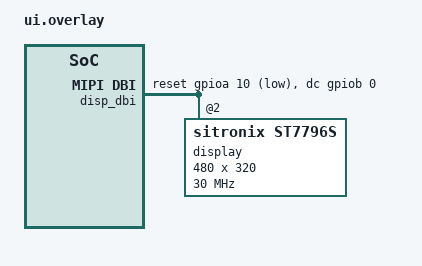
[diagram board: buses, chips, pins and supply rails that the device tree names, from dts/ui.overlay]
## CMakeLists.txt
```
# STS1000 "Meridian" application — SPDX-License-Identifier: Apache-2.0
#
# Build:  west build -b sts1000_meridian --sysbuild firmware/app
# See firmware/scripts/build.sh for the canonical invocation.

cmake_minimum_required(VERSION 3.20.0)

# ---------------------------------------------------------------------------
# Drop-in configuration fragments  (MUST precede find_package(Zephyr))
#
# The Zephyr glue is split into four ownership areas (platform, net, console,
# ui) worked on in parallel. So that adding an area never means editing a
# shared file, each area drops its own Kconfig fragment into `conf/` and its
# own devicetree overlay into `dts/`; both directories are globbed here and
# merged into EXTRA_CONF_FILE / EXTRA_DTC_OVERLAY_FILE.
#
# Ordering is the sorted filename, so a fragment can rely on being applied
# after an alphabetically earlier one. `prj.conf` is always applied first
# (Zephyr applies CONF_FILE before EXTRA_CONF_FILE), and a later fragment
# overrides an earlier one — that is the intended override direction.
#
# configuration_files.cmake reads both variables with `zephyr_get(... MERGE)`,
# which unions the local scope value set here with any CACHE/env/sysbuild
# value, so a `-DEXTRA_CONF_FILE=...` on the west command line still applies.
#
# CONFIGURE_DEPENDS makes CMake re-glob on every build, so a newly added
# fragment is picked up without a manual `cmake` re-run. Changing an already
# merged Kconfig default still needs a pristine build.
# ---------------------------------------------------------------------------
file(GLOB sts1000_conf_fragments CONFIGURE_DEPENDS
     ${CMAKE_CURRENT_SOURCE_DIR}/conf/*.conf)
if(sts1000_conf_fragments)
  list(SORT sts1000_conf_fragments)
  list(APPEND EXTRA_CONF_FILE ${sts1000_conf_fragments})
endif()

file(GLOB sts1000_dts_overlays CONFIGURE_DEPENDS
     ${CMAKE_CURRENT_SOURCE_DIR}/dts/*.overlay)
if(sts1000_dts_overlays)
  list(SORT sts1000_dts_overlays)
  list(APPEND EXTRA_DTC_OVERLAY_FILE ${sts1000_dts_overlays})
endif()

find_package(Zephyr REQUIRED HINTS $ENV{ZEPHYR_BASE})
project(sts1000_meridian LANGUAGES C)

# ---------------------------------------------------------------------------
# mbedTLS user-config header (NTS-KE)
#
# CONFIG_MBEDTLS_USER_CONFIG_FILE="sts_mbedtls_user.h" makes Zephyr's
# configs/config-mbedtls.h end with `#include "sts_mbedtls_user.h"` (that file,
# line 552). The header therefore has to be findable from every translation unit
# that pulls the mbedTLS configuration in — which is the whole mbedTLS module,
# not just this application, because the module is compiled with its own include
# paths and knows nothing about app/. Without this line the mbedTLS library
# fails to compile with "sts_mbedtls_user.h: No such file or directory"; with it,
# MBEDTLS_SSL_KEYING_MATERIAL_EXPORT reaches the library and the application
# identically, which is the only way the exporter can be both compiled into
# ssl_tls.c and visible to the `#if` in src/zephyr/net/sts_ntske.c.
#
# PLACEMENT: this must come AFTER find_package(Zephyr), not before it, and the
# note that used to say otherwise (in sts_mbedtls_user.h and conf/net.conf) was
# wrong — `zephyr_include_directories` is defined by cmake/modules/extensions.cmake
# and operates on the `zephyr_interface` target, and neither exists until
# find_package(Zephyr) runs kernel.cmake's add_subdirectory(${ZEPHYR_BASE}).
# Placed earlier the configure step dies with
#     CMake Error: Unknown CMake command "zephyr_include_directories".
# Placing it after is not a workaround: zephyr_include_directories() appends to
# an INTERFACE target's INTERFACE_INCLUDE_DIRECTORIES, and CMake resolves usage
# requirements at generate time, so every zephyr_library() — including the four
# the mbedTLS module defines — picks it up even though those targets were
# created during find_package(Zephyr).
#
# Scope note: this puts src/zephyr/net/ on the include path of every Zephyr
# library in the image, not only mbedTLS. That is safe because every header in
# that directory is `sts_`-prefixed, so none can shadow a Zephyr, mbedTLS or
# libc header. Keep it that way — an unprefixed header added there would be
# picked up by upstream code.
# ---------------------------------------------------------------------------
zephyr_include_directories(${CMAKE_CURRENT_SOURCE_DIR}/src/zephyr/net)

# ---------------------------------------------------------------------------
# Anti-rollback: the SIGNED security counter must equal the COMPILED-IN epoch
#
# Two symbols carry one number (app/conf/rollback.conf explains why Kconfig
# cannot express it as one):
#
#   CONFIG_MCUBOOT_EXTRA_IMGTOOL_ARGS  reaches imgtool and lands in the image's
#                                      protected TLV area, which is what
#                                      MCUboot compares.
#   CONFIG_STS1000_SECURITY_EPOCH      reaches the C code, which uses it to
#                                      refuse a staged downgrade and to step
#                                      the ATECC608B witness counter.
#
# Letting those drift is the interesting failure: the image would be gated on
# one number and the firmware would reason about another, and both halves would
# look fine in isolation. So this is a hard error, not a warning. It also
# catches the case the whole feature is silently absent — a fragment that got
# dropped, or an -DEXTRA_CONF_FILE that replaced rather than extended the set —
# because then the imgtool argument is empty and no counter is signed at all.
#
# Only meaningful for an image that MCUboot chain-loads and that is actually
# signed; a raw or unsigned build has no TLV area to put a counter in.
# ---------------------------------------------------------------------------
if(CONFIG_BOOTLOADER_MCUBOOT AND NOT CONFIG_MCUBOOT_GENERATE_UNSIGNED_IMAGE)
  if(NOT CONFIG_MCUBOOT_EXTRA_IMGTOOL_ARGS MATCHES "--security-counter[ \t]+([0-9]+|0[xX][0-9a-fA-F]+)")
    message(FATAL_ERROR
      "anti-rollback: CONFIG_MCUBOOT_EXTRA_IMGTOOL_ARGS carries no "
      "'--security-counter <n>', so this image would be signed without an "
      "IMAGE_TLV_SEC_CNT and could never be installed on a unit that has "
      "already confirmed a counter-bearing image. Restore app/conf/rollback.conf.\n"
      "  CONFIG_MCUBOOT_EXTRA_IMGTOOL_ARGS = '${CONFIG_MCUBOOT_EXTRA_IMGTOOL_ARGS}'")
  endif()
  set(sts1000_signed_epoch "${CMAKE_MATCH_1}")

  if(NOT DEFINED CONFIG_STS1000_SECURITY_EPOCH)
    message(FATAL_ERROR
      "anti-rollback: CONFIG_STS1000_SECURITY_EPOCH is not defined, but the "
      "image is being signed with --security-counter ${sts1000_signed_epoch}. "
      "The firmware would have no idea what epoch it is running.")
  endif()

  # EQUAL, not STREQUAL: 0x2 and 2 are the same epoch, and imgtool accepts both.
  if(NOT sts1000_signed_epoch EQUAL CONFIG_STS1000_SECURITY_EPOCH)
    message(FATAL_ERROR
      "anti-rollback: the epoch signed into the image and the epoch compiled "
      "into it disagree. Both live in app/conf/rollback.conf and must be the "
      "same number.\n"
      "  signed   (--security-counter)      = ${sts1000_signed_epoch}\n"
      "  compiled (CONFIG_STS1000_SECURITY_EPOCH) = ${CONFIG_STS1000_SECURITY_EPOCH}")
  endif()

  message(STATUS
    "sts1000 anti-rollback: security epoch ${CONFIG_STS1000_SECURITY_EPOCH} "
    "(signed into IMAGE_TLV_SEC_CNT and compiled in)")
endif()

# ---------------------------------------------------------------------------
# Sources
#
# ARCHITECTURE.md §4 splits the application in two:
#   src/core/    platform-neutral C11, host-testable, no Zephyr headers
#   src/zephyr/  Zephyr glue (threads, ISRs, driver + port implementations)
#
# core/ is one recursive glob. During the wave-2 build-out it was listed per
# module so a half-written module could not break an unrelated build; every
# ARCHITECTURE.md §5 module now compiles for the target, so that exception is
# gone and adding a module is a no-edit operation.
# ---------------------------------------------------------------------------
file(GLOB_RECURSE sts1000_core_sources CONFIGURE_DEPENDS
     ${CMAKE_CURRENT_SOURCE_DIR}/src/core/*.c)

# --- Zephyr glue, gated per ownership area ---------------------------------
#
# The glue is four ownership areas developed in parallel (ARCHITECTURE.md §2):
# platform, net, console, ui. Each area's sources are globbed from its own
# subdirectory, so adding a file to an area is still a no-edit operation — the
# STEP-0 goal. The three non-platform areas are compiled only when their
# CONFIG_STS1000_<AREA> switch is on (all default y).
#
# Gating the compile — not just the entry-point call in main.c — is what makes
# the switches actually compose the image: CONFIG_STS1000_NET=n produces a
# timing-only bring-up image with no network code linked (the motivation in
# app/Kconfig), and it lets one area be excluded while it is mid-refactor
# without editing another area's files. main.c's __weak fallbacks
# (src/zephyr/platform/sts_area_weak.c) stand in for a disabled area's entry
# point, so the image always links.
#
#   platform  src/zephyr/*.c (sts_app.c) + src/zephyr/platform/  — always built
#   net       src/zephyr/net/                                    — CONFIG_STS1000_NET
#   console   src/zephyr/console/ + src/zephyr/storage/          — CONFIG_STS1000_CONSOLE
#   ui        src/zephyr/ui/                                     — CONFIG_STS1000_UI
#
# The four area directories are fixed by ARCHITECTURE.md §2; a fifth would be a
# structural change that warrants editing this file.
file(GLOB sts1000_glue_platform_top CONFIGURE_DEPENDS
     ${CMAKE_CURRENT_SOURCE_DIR}/src/zephyr/*.c)
file(GLOB_RECURSE sts1000_glue_platform CONFIGURE_DEPENDS
     ${CMAKE_CURRENT_SOURCE_DIR}/src/zephyr/platform/*.c)
set(sts1000_glue_sources ${sts1000_glue_platform_top} ${sts1000_glue_platform})

if(CONFIG_STS1000_NET)
  file(GLOB_RECURSE sts1000_glue_net CONFIGURE_DEPENDS
       ${CMAKE_CURRENT_SOURCE_DIR}/src/zephyr/net/*.c)
  list(APPEND sts1000_glue_sources ${sts1000_glue_net})
endif()

if(CONFIG_STS1000_CONSOLE)
  file(GLOB_RECURSE sts1000_glue_console CONFIGURE_DEPENDS
       ${CMAKE_CURRENT_SOURCE_DIR}/src/zephyr/console/*.c
       ${CMAKE_CURRENT_SOURCE_DIR}/src/zephyr/storage/*.c)
  # The Maintenance Protocol is the one sub-area with a switch of its own
  # (src/zephyr/console/Kconfig.mp). It is an unauthenticated-to-role-`none`
  # physical-access surface, so CONFIG_STS1000_MP=n has to actually remove it
  # from the image rather than leave it compiled and merely unused — which
  # means naming its files here, because the area glob above would otherwise
  # pull them back in. Their call sites resolve to the __weak no-ops in
  # src/zephyr/platform/sts_area_weak.c.
  if(NOT CONFIG_STS1000_MP)
    list(REMOVE_ITEM sts1000_glue_console
         ${CMAKE_CURRENT_SOURCE_DIR}/src/zephyr/console/mp_glue.c
         ${CMAKE_CURRENT_SOURCE_DIR}/src/zephyr/console/mp_tunnel.c
         ${CMAKE_CURRENT_SOURCE_DIR}/src/zephyr/console/mp_events.c)
  endif()
  list(APPEND sts1000_glue_sources ${sts1000_glue_console})
endif()

if(CONFIG_STS1000_UI)
  file(GLOB_RECURSE sts1000_glue_ui CONFIGURE_DEPENDS
       ${CMAKE_CURRENT_SOURCE_DIR}/src/zephyr/ui/*.c)
  list(APPEND sts1000_glue_sources ${sts1000_glue_ui})
endif()

target_sources(app PRIVATE
  src/main.c
  ${sts1000_core_sources}
  ${sts1000_glue_sources}
)

# Include roots:
#   src/        the cross-area API as "zephyr/sts_app.h", and an area's headers
#               with the zephyr/ prefix ("zephyr/platform/platform.h")
#   src/core/   core modules include each other as "util/crc.h" — the same root
#               tests/host/CMakeLists.txt uses, which is what keeps a core module
#               compiling identically on the host and on the target
#   src/port/   bare "port_time.h" for glue that implements a port
#   src/zephyr/ an area's own headers, area-relative ("console/sts_console.h",
#               "platform/platform.h"). Both this and the zephyr/-prefixed form
#               from src/ resolve; the four glue areas are authored in parallel
#               and settled on the area-relative style, so the glue root is
#               carried explicitly rather than forcing every include to be
#               rewritten. It adds src/zephyr/<area>/ as search dirs, none of
#               which collides with a <zephyr/...> path (those live under the
#               toolchain's zephyr/include, and there is no src/zephyr/zephyr/).
#
# NOTE: having src/ on the include path means <zephyr/...> would resolve against
# src/zephyr/ first if such a header existed. Do not create a header directly
# under src/zephyr/ whose name matches a Zephyr header (device.h, kernel.h, ...)
# — glue headers belong in src/zephyr/<area>/ per ARCHITECTURE.md §2.
target_include_directories(app PRIVATE
  ${CMAKE_CURRENT_SOURCE_DIR}/src
  ${CMAKE_CURRENT_SOURCE_DIR}/src/core
  ${CMAKE_CURRENT_SOURCE_DIR}/src/port
  ${CMAKE_CURRENT_SOURCE_DIR}/src/zephyr
)

# ARCHITECTURE.md §9: zero warnings from application code.
target_compile_options(app PRIVATE -Wall -Wextra)
```

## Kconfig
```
# STS1000 "Meridian" application configuration
# SPDX-License-Identifier: Apache-2.0

mainmenu "STS1000 Meridian"

menu "STS1000 Meridian glue areas"

# The Zephyr glue layer (ARCHITECTURE.md §2 src/zephyr/) is split into four
# ownership areas. `platform` is unconditional — it owns bring-up, the timing
# engine glue, the 1 kHz scan and housekeeping, so there is no build without
# it. The other three are switchable so a bring-up image can be cut down to
# the timing path alone (useful for ADEV runs and for isolating a fault to an
# area). Each area's entry point has a __weak no-op fallback in
# src/zephyr/platform/sts_area_weak.c, so disabling one only removes its code.

config STS1000_NET
	bool "Network area (Ethernet, NTP/NTS, PTP, SNMP)"
	default y
	help
	  Builds src/zephyr/net/ and calls sts_net_start() from the bring-up
	  sequencer. Covers the RMII interface, DHCPv4/link management, the
	  NTP/NTS server, the PTP grandmaster and the SNMP agent.

config STS1000_CONSOLE
	bool "Console area (USB CDC-ACM, shell, MCP, storage)"
	default y
	help
	  Builds src/zephyr/console/ and calls sts_console_start() from the
	  bring-up sequencer. Covers the composite USB device, the Zephyr
	  shell on CDC-ACM #0, the binary Meridian Console Protocol channel on
	  CDC-ACM #1, settings/NVS persistence and the LittleFS mount.

config STS1000_UI
	bool "Local UI area (display, touch, encoder, panel)"
	default y
	help
	  Builds src/zephyr/ui/ and calls sts_ui_start() from the bring-up
	  sequencer. Covers the ST7796 TFT, the FT6336 touch controller, the
	  rotary encoder and the front-panel LEDs.

# Area-owned tunables. Each area keeps its symbols in its own Kconfig so it can
# add options without touching this file; they carry #if-defined fallbacks so
# the build is correct even if these rsource lines are dropped. The net area
# has no Kconfig of its own yet.
rsource "src/zephyr/console/Kconfig"
rsource "src/zephyr/console/Kconfig.mp"
rsource "src/zephyr/ui/Kconfig"

endmenu

menu "STS1000 Meridian bring-up"

config STS1000_NOR_RESET_RECOVERY_US
	int "SPI-NOR reset recovery time (us)"
	default 200
	range 10 100000
	help
	  Delay inserted after NOR_RST_N (PE10) is released before the
	  MX25L25645G is initialised (interface ref §2 Stage 2). Must cover the
	  device's tRHSL reset-recovery specification with margin.

config STS1000_PHY_RESET_ASSERT_US
	int "Ethernet PHY reset assertion width (us)"
	default 500
	range 100 100000
	help
	  How long LAN_RST_N (PD10) is held asserted. The LAN8742AI requires a
	  minimum 100 us reset pulse.

config STS1000_PHY_RESET_RECOVERY_US
	int "Ethernet PHY reset recovery time (us)"
	default 1000
	range 100 100000
	help
	  Delay after LAN_RST_N (PD10) is released before SMI/MDIO access is
	  permitted. The LAN8742AI specifies 100 us.

config STS1000_EARLY_RESET_INIT_PRIORITY
	int "Init priority of the early reset-release hook"
	default 45
	range 0 99
	help
	  POST_KERNEL priority of the hook that releases LAN_RST_N. It must run
	  before the MDIO, PHY and Ethernet drivers (default priorities 60, 70
	  and 80) or their probe finds the PHY held in reset.

endmenu

menu "STS1000 Meridian platform area"

# The clock-mux glue calls LL_RCC_GetSystemClocksFreq() to read the live SYSCLK
# across the HSI bridge. That is one of the few non-inline LL functions, so its
# source (stm32h5xx_ll_rcc.c) must be compiled — but USE_STM32_LL_RCC is a
# promptless symbol that can only be select-ed, and the STM32 clock driver
# selects it only on MP-series parts. Force it on here.
config STS1000_FORCE_LL_RCC
	bool
	default y
	select USE_STM32_LL_RCC

config STS1000_LOGRING_SLOTS
	int "Structured log ring depth (records)"
	default 192
	range 16 2048
	help
	  Records retained in the RAM log ring (core/logring). Each slot is
	  sizeof(logr_rec_t) — about 96 bytes with the default LOGR_MSG_MAX —
	  so 192 slots is roughly 18 KB. The ring is the source for MCP
	  LOG_TAIL and for the NOR spool; sizing it is a trade between how far
	  back a `log tail` can reach and SRAM.

config STS1000_RAM_STORE_ENTRIES
	int "RAM config store entries (pre-persistence)"
	default 48
	range 8 256
	help
	  Size of the volatile key/value store the platform gives core/cfg
	  before the console area registers the real NVS-backed one. It only
	  has to hold keys written during that window, which is why it is much
	  smaller than the full schema.

config STS1000_LIVENESS_DEADLINE_MS
	int "Liveness deadline (ms)"
	default 5000
	range 500 60000
	help
	  How long a registered liveness participant may go without feeding
	  before the supervisor stops kicking the external watchdog. Must be
	  comfortably longer than the slowest participant's period (the
	  housekeeping thread's 1 Hz sweep) and shorter than the TPS3430
	  timeout, so a genuinely wedged thread cold-cycles the board rather
	  than being tolerated.

config STS1000_WDT_KICK_WIDTH_US
	int "WDT_KICK pulse width (us)"
	default 50
	range 1 1000
	help
	  Width of the WDT_KICK (PB2) pulse presented to the TPS3430 WDI input.
	  Busy-waited, so keep it short. Must exceed the device's minimum
	  pulse-width specification.

config STS1000_CLKMUX_MAX_SETTLE_MS
	int "Maximum clock-mux settle time (ms)"
	default 20
	range 1 100
	help
	  Upper bound on the settle delay the reference state machine may
	  request during an OCXO<->Rb handoff. The whole handoff runs with
	  interrupts locked and SYSCLK bridged to HSI, so this value directly
	  bounds how long the system runs at the wrong clock. A larger settle
	  request from refsel is clamped to this and logged.

config STS1000_DIGIPOT_SPI_HZ
	int "MCP41U83 digipot SPI clock (Hz)"
	default 1000000
	range 100000 10000000
	help
	  SPI4 clock used for the rubidium-rail digipot (U43). The part is
	  rated well above this; the conservative default keeps the edge rates
	  down on a bus shared with a 40 MHz NOR and a display ribbon.

config STS1000_INA228_SETTLE_MS
	int "INA228 settle time after configuration (ms)"
	default 20
	range 1 500
	help
	  How long stage 3 waits after writing CONFIG/ADC_CONFIG/SHUNT_CAL before
	  reading a monitor back. The board defaults put every INA228 in
	  continuous bus+shunt+temperature mode with averaging, so the first
	  conversion after a configuration write is not ready immediately and a
	  read taken too early returns the POR register contents. Must exceed one
	  full averaged conversion cycle.

config STS1000_GNSS_UART_RX_RING
	int "GNSS UART receive ring size (bytes)"
	default 1024
	range 256 8192
	help
	  Bytes buffered between the USART3 receive ISR and the gnss thread. One
	  second of the configured UBX message set at 1 Hz is a few hundred bytes
	  (NAV-PVT 92 + NAV-SAT up to ~600 + NAV-SIG + NAV-TIMELS + TIM-TP +
	  MON-RF/MON-HW), so the default holds roughly one full epoch — enough
	  that a thread delayed by a whole second loses nothing.

config STS1000_RB_LOCK_ACTIVE_LOW
	bool "RB_LOCK (PB13) is asserted low"
	default y
	help
	  Which electrical level on RB_LOCK means "the FE-5680A reports lock".

	  The optocoupler U48 inverts (rb_rs232_interface.md §6A.3): the FE's lock
	  line high turns the LED on, which turns the transistor on, which pulls
	  RB_LOCK low. So low = locked for a unit whose lock output is active-high
	  — the documented default. Surplus FE variants are known to differ and
	  some drive the line low when locked, which through the opto reads high,
	  so this is a per-unit commissioning setting and must not be assumed.
	  Determine it by correlating RB_LOCK against the FE's serial lock status
	  (bench procedure "Lock polarity") and set it before trusting the OCXO/Rb
	  handoff.

config STS1000_PANEL_LED_PWM_HZ
	int "Panel-LED PWM frequency (Hz)"
	default 1000
	range 200 20000
	help
	  LPTIM2_CH2 (PE0) carrier for the front-panel LED string. Must be far
	  above the flicker threshold and far above the reciprocal of the
	  INA228 0x4C averaging window, or the panel current reading beats
	  against the duty cycle (interface ref §4.1).

endmenu

menu "STS1000 Meridian secure boot / anti-rollback"

config STS1000_SECURITY_EPOCH
	int "Image security epoch (MCUboot anti-rollback counter)"
	default 1
	range 1 2097151
	help
	  The value signed into this image's IMAGE_TLV_SEC_CNT (0x50) and the
	  value MCUboot compares when deciding whether a staged image may
	  replace the running one (sysbuild/mcuboot.conf
	  CONFIG_MCUBOOT_DOWNGRADE_PREVENTION_SECURITY_COUNTER: the staged
	  counter must be >= the running one).

	  IT IS A SECURITY EPOCH, NOT A BUILD NUMBER. Do not tie it to
	  app/VERSION, do not increment it per release, and never let a script
	  bump it. Advance it by exactly one when a release fixes a vulnerability
	  that must not be reachable again by re-installing an older signed
	  image; leave it alone for every other release. Advancing it makes every
	  earlier image permanently un-installable on a unit that has confirmed
	  this one, including as a downgrade you might later want.

	  This symbol does not reach imgtool by itself: the argument is passed
	  through CONFIG_MCUBOOT_EXTRA_IMGTOOL_ARGS in app/conf/rollback.conf,
	  and app/CMakeLists.txt fails the build if the two disagree. Both live
	  in that one fragment so they are edited together.

	  The 2097151 ceiling is the ATECC608B monotonic counter's, not
	  MCUboot's: the on-device witness below mirrors this value into that
	  counter, and a value it cannot represent would break the mirror.

config STS1000_ROLLBACK_WITNESS
	bool "Mirror the security epoch into an ATECC608B monotonic counter"
	default y
	help
	  On the one path that confirms a freshly-staged image (spec §8.3,
	  src/zephyr/console/sts_selfconfirm.c), step the secure element's
	  monotonic counter up to STS1000_SECURITY_EPOCH.

	  This is ATTESTATION EVIDENCE, not the boot gate — MCUboot's TLV
	  comparison is what actually refuses a downgrade. The counter is
	  one-way in hardware, so it is a witness that cannot be rewound by
	  anything with write access to flash: a remote verifier that sees a
	  counter above the epoch an image claims knows the unit has run
	  something newer than what it is being told is running.

	  Costs nothing when the part is absent, unprovisioned or disabled by
	  cfg key sec.atecc.en — every sts_atecc_*() entry point answers -ENODEV
	  there, which means "use the software path" and never blocks a
	  confirmation or a boot.

config STS1000_ROLLBACK_ATECC_COUNTER
	int "ATECC608B monotonic counter index used as the witness"
	default 0
	range 0 1
	depends on STS1000_ROLLBACK_WITNESS
	help
	  Which of the part's two monotonic counters carries the witness.
	  Changing it on a deployed unit restarts the witness from that
	  counter's current value and abandons the old one — the counters cannot
	  be reset, so this is a provisioning-time decision.

endmenu

module = STS1000
module-str = sts1000
source "subsys/logging/Kconfig.template.log_config"

source "Kconfig.zephyr"
```

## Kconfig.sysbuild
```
# STS1000 "Meridian" sysbuild configuration
# SPDX-License-Identifier: Apache-2.0
#
# The MCUboot signing key must be given as an ABSOLUTE path: both
# bootloader/mcuboot/boot/zephyr/CMakeLists.txt and Zephyr's mcuboot.cmake fall
# back to resolving a relative path against the MCUboot source tree. Kconfig
# *fragment* files (sysbuild.conf) do not expand macros, so the default is set
# here, where the Kconfig preprocessor is available, using $(APP_DIR) — the
# main image's application directory, i.e. firmware/app.
#
# This default is declared before `source`ing the standard sysbuild Kconfig so
# that it wins over the upstream in-tree MCUboot demo key. Override it from the
# command line for production:
#
#   -DSB_CONFIG_BOOT_SIGNATURE_KEY_FILE=\"/secure/path/sts1000_prod_ec_p256.pem\"

config BOOT_SIGNATURE_KEY_FILE
	string
	default "$(APP_DIR)/keys/mcuboot_dev_ec_p256.pem"

source "share/sysbuild/Kconfig"
```

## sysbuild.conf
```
# Sysbuild configuration for the STS1000 "Meridian".
# SPDX-License-Identifier: Apache-2.0
#
# Boot chain: STiRoT (ROM, OBK-configured) -> MCUboot -> slot0 application.
# ARCHITECTURE.md §3.

SB_CONFIG_BOOTLOADER_MCUBOOT=y

# Two-slot A/B with revert. Swap-using-move needs no scratch partition; both
# slots are 896 KB = 112 x 8 KB sectors.
SB_CONFIG_MCUBOOT_MODE_SWAP_USING_MOVE=y

# ECDSA P-256 + SHA-256. The key path itself is defaulted in Kconfig.sysbuild
# (it has to be absolute, and .conf fragments cannot expand $(APP_DIR)).
SB_CONFIG_BOOT_SIGNATURE_TYPE_ECDSA_P256=y

# Images are not encrypted: the update path is a local serial link, and the
# STiRoT-anchored signature chain is what establishes authenticity.
SB_CONFIG_BOOT_ENCRYPTION=n
```

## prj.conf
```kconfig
# STS1000 "Meridian" application configuration
# SPDX-License-Identifier: Apache-2.0
#
# Wave 1a scope: board bring-up skeleton. Subsystems that later waves need are
# enabled here so that the target build proves they fit and link; the logic that
# uses them lands with the modules in ARCHITECTURE.md §5.

# ---------------------------------------------------------------------------
# Kernel
# ---------------------------------------------------------------------------
CONFIG_STD_C11=y
# ARCHITECTURE.md §6 uses priorities up to 16; the default ceiling is 15.
CONFIG_NUM_PREEMPT_PRIORITIES=20
CONFIG_MAIN_STACK_SIZE=4096
CONFIG_ISR_STACK_SIZE=2048
CONFIG_SYSTEM_WORKQUEUE_STACK_SIZE=4096
CONFIG_HEAP_MEM_POOL_SIZE=16384
CONFIG_THREAD_NAME=y
CONFIG_THREAD_MONITOR=y
CONFIG_THREAD_STACK_INFO=y
CONFIG_INIT_STACKS=y
CONFIG_REBOOT=y
CONFIG_HWINFO=y

# ---------------------------------------------------------------------------
# Logging — deferred so no service thread ever blocks on a log backend
# (the console is USB CDC-ACM, whose host may be absent for months).
# ---------------------------------------------------------------------------
CONFIG_LOG=y
CONFIG_LOG_MODE_DEFERRED=y
CONFIG_LOG_BUFFER_SIZE=8192
CONFIG_LOG_PROCESS_THREAD_STACK_SIZE=2048
CONFIG_LOG_DEFAULT_LEVEL=3
CONFIG_LOG_PRINTK=y
CONFIG_LOG_FUNC_NAME_PREFIX_ERR=y

# ---------------------------------------------------------------------------
# Console / shell on USB CDC-ACM #0 (chosen nodes live in the board .dts).
# ---------------------------------------------------------------------------
CONFIG_SHELL=y
CONFIG_SHELL_BACKEND_SERIAL=y
CONFIG_SHELL_STACK_SIZE=4096
CONFIG_SHELL_PROMPT_UART="sts1000:~$ "
CONFIG_KERNEL_SHELL=y
CONFIG_DEVICE_SHELL=y

# ---------------------------------------------------------------------------
# USB device — composite, 2x CDC-ACM (ARCHITECTURE.md §6).
#   ACM0 shell + log console (human), ACM1 binary MCP channel (PC tool).
# Enumerating at boot keeps the console usable from the first log line; CDC-ACM
# poll_out discards rather than blocks when no host is attached.
#
# TODO(pre-production): CONFIG_USB_DEVICE_VID is left at Zephyr's shared test
# value 0x2FE3 because the project has no USB-IF allocation yet; Zephyr emits a
# CMake warning about that on every build, and it is meant to stay visible until
# a real VID is assigned. The PIDs are set locally so the two enumerations
# (application 0x1000 here, MCUboot recovery 0x1001 in sysbuild/mcuboot.conf)
# are at least distinguishable on a host.
# ---------------------------------------------------------------------------
CONFIG_USB_DEVICE_STACK=y
CONFIG_USB_DEVICE_INITIALIZE_AT_BOOT=y
CONFIG_USB_COMPOSITE_DEVICE=y
CONFIG_USB_DEVICE_MANUFACTURER="RCL Design"
CONFIG_USB_DEVICE_PRODUCT="STS1000 Meridian"
CONFIG_USB_DEVICE_PID=0x1000
CONFIG_USB_CDC_ACM=y
CONFIG_UART_LINE_CTRL=y

# ---------------------------------------------------------------------------
# Networking — RMII LAN8742AI, dual stack, DHCPv4.
# NTP/NTS (UDP 123), NTS-KE (TCP) and PTP are application services built on
# sockets; only the transports are enabled here.
# ---------------------------------------------------------------------------
CONFIG_NETWORKING=y
CONFIG_NET_L2_ETHERNET=y
CONFIG_NET_IPV4=y
CONFIG_NET_IPV6=y
CONFIG_NET_UDP=y
CONFIG_NET_TCP=y
CONFIG_NET_SOCKETS=y
CONFIG_NET_DHCPV4=y
CONFIG_NET_MGMT=y
CONFIG_NET_MGMT_EVENT=y
CONFIG_NET_MGMT_EVENT_STACK_SIZE=2048
CONFIG_NET_RX_STACK_SIZE=2048
CONFIG_NET_TX_STACK_SIZE=2048
CONFIG_NET_MAX_CONTEXTS=16

# MAC IEEE-1588 hardware timestamping — the PTP grandmaster's time source.
# The PTP timer is fed from HCLK (250 MHz) on the STM32H5.
CONFIG_PTP_CLOCK=y
CONFIG_PTP_CLOCK_STM32_HAL=y
CONFIG_ETH_STM32_HAL_PTP_CLOCK_SRC_HZ=250000000
CONFIG_NET_PKT_TIMESTAMP=y
# The STM32 HAL TX-PTP callback hands finished frames to net_if_add_tx_timestamp(),
# which only exists when the TX-timestamp thread is built.
CONFIG_NET_PKT_TIMESTAMP_THREAD=y

# ---------------------------------------------------------------------------
# Storage
#   internal flash : NVS-backed settings on storage_partition
#   external NOR   : LittleFS (`/lfs`); mounted by a later wave
# ---------------------------------------------------------------------------
CONFIG_FLASH=y
CONFIG_FLASH_MAP=y
CONFIG_FLASH_PAGE_LAYOUT=y
CONFIG_MPU_ALLOW_FLASH_WRITE=y
CONFIG_NVS=y
CONFIG_SETTINGS=y
CONFIG_SETTINGS_NVS=y
CONFIG_FILE_SYSTEM=y
CONFIG_FILE_SYSTEM_LITTLEFS=y

# ---------------------------------------------------------------------------
# DFU — ARCHITECTURE.md §3 upgrade path 1: MCP FW_* commands stream a signed
# image into slot1, then boot_request_upgrade(TEST) + self-confirm.
# ---------------------------------------------------------------------------
CONFIG_STREAM_FLASH=y
CONFIG_IMG_MANAGER=y
CONFIG_MCUBOOT_IMG_MANAGER=y
CONFIG_IMG_ERASE_PROGRESSIVELY=y

# ---------------------------------------------------------------------------
# Buses and analog
# ---------------------------------------------------------------------------
CONFIG_I2C=y
CONFIG_SPI=y
CONFIG_ADC=y
CONFIG_DAC=y
CONFIG_PWM=y
CONFIG_SENSOR=y
CONFIG_ENTROPY_GENERATOR=y

# The external TPS3430 windowed watchdog (WDT_EN/PC12 + WDT_KICK/PB2) is the
# real supervisor; the STM32 IWDG stays off so it cannot pre-empt the
# hardware-OR'd POE_KILL path.
CONFIG_WATCHDOG=n

# TODO(wave-3): PANEL_LED_PWM (PE0) has no timer output channel on
# STM32H563 (the AF table offers only TIM4_ETR there), so panel-LED dimming
# cannot use the PWM driver. It is a plain GPIO in the board .dts; the UI wave
# must implement software dimming (timer ISR or DMA-to-BSRR) with a period well
# under the INA228 0x4C averaging window (interface ref §4.1).
```

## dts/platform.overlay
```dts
/*
 * STS1000 "Meridian" — platform-area devicetree overlay.
 *
 * SPDX-License-Identifier: Apache-2.0
 *
 * Merged after the board .dts by app/CMakeLists.txt. Carries only what the
 * platform area adds on top of the board definition; the net, console and ui
 * areas own dts/net.overlay, dts/console.overlay and dts/ui.overlay.
 */

/*
 * LPTIM2 drives PANEL_LED_PWM on PE0 (LPTIM2_CH2, AF3 — verified against the
 * STM32H563 alternate-function table, see src/zephyr/platform/panel_pwm.c).
 *
 * The node is enabled but no Zephyr driver binds it: `st,stm32-lptim` is only
 * claimed by the LPTIM kernel-tick driver, which is not in use here (SysTick
 * is the tick source). Enabling it makes the DT_ macros — reg, clocks —
 * available so the platform can gate the clock and select the source itself.
 *
 * pinctrl-0 is deliberately NOT set here: the `st,stm32-lptim` binding does not
 * declare a pinctrl property (dtc rejects it), so the PE0->AF3 mux is applied
 * from panel_pwm.c with LL_GPIO instead. The pin assignment is still recorded
 * in devicetree as the lptim2_ch2_pe0 group in the board pinctrl overlay.
 *
 * The second clocks entry pins the kernel clock to PCLK1 rather than relying
 * on the RCC_CCIPR2 reset default, so the /128 prescaler and the ARR the
 * platform computes are derived from a source the devicetree states.
 */
&lptim2 {
	clocks = <&rcc STM32_CLOCK(APB1_2, 5U)>,
		 <&rcc STM32_SRC_PCLK1 LPTIM2_SEL(0)>;
	status = "okay";
};

/*
 * PANEL_LED_PWM is now a peripheral output, not a GPIO. Drop the stale
 * /zephyr,user handle so nothing can claim the pin as a plain output behind
 * the LPTIM's back — the board .dts declared it that way when the AF was
 * believed not to exist.
 */
&zephyr_user {
	/delete-property/ panel-led-pwm-gpios;
};

/*
 * STM32 internal die-temperature sensor (ADC1 internal channel 16, factory
 * cal). It is the tertiary input to the thermal over-temp ladder: when the
 * enclosure TMP117 (0x48) fails, the ladder falls back to the oscillator
 * TMP117 (0x49) and then to this (ARCHITECTURE.md §10.2, thermal Wave-2b
 * contract). Disabled in the SoC dtsi; the housekeeping thread reads it via
 * the sensor API and degrades to die_valid=false if it is not ready, so the
 * ladder still has the two TMP117s.
 */
&die_temp {
	status = "okay";
};
```

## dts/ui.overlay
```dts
/*
 * STS1000 "Meridian" — local-UI devicetree overlay.
 *
 * SPDX-License-Identifier: Apache-2.0
 *
 * Merged after the board .dts by app/CMakeLists.txt. Adds only the display
 * subsystem; every other pin the UI area touches (DISP_EN/PC11, DISP_RST/PA10,
 * DISP_DC/PB0, PROX_WAKE, the touch INT) is already declared in the board's
 * /zephyr,user node, and the encoder and backlight ride nodes the board
 * already defines (`panel_qdec` on TIM1, `panel_pwm` on TIM15).
 *
 * ---------------------------------------------------------------------------
 * Why the in-tree ST7796S driver, and how it shares SPI4
 * ---------------------------------------------------------------------------
 * The panel is a Sitronix ST7796S over SPI4, write-only (J17 carries
 * SPI_SCK_DISP and SPI_MOSI_DISP but no MISO — interface ref §9). Zephyr 4.2
 * ships `sitronix,st7796s` on top of the MIPI-DBI mode-C shim
 * (`zephyr,mipi-dbi-spi`), which is exactly this wiring: a SPI controller plus
 * a data/command GPIO plus a reset GPIO.
 *
 * The shared-bus question resolves in the shim's favour rather than against it.
 * MIPI_DBI_SPI_CONFIG_DT() takes the chip select from the *parent's* `spi-dev`
 * phandle at index `reg`, so `reg = <2>` below selects &spi4's cs-gpios[2] =
 * PE9 = DISP_CS, leaving cs-gpios[0] (NOR) and cs-gpios[1] (digipot)
 * untouched. Zephyr's SPI driver serialises transfers per controller and
 * re-applies each device's spi_config, so the NOR at 40 MHz mode 0, the
 * MCP41U83 at mode 0,0 and the panel at 30 MHz coexist without an application
 * mutex. A hand-rolled ST7796 driver was therefore not needed and is not used.
 *
 * ---------------------------------------------------------------------------
 * Deferred init
 * ---------------------------------------------------------------------------
 * Both nodes are `zephyr,deferred-init`. Spec §6.5 requires DISP_EN (PC11) to
 * come up first so the RT9742 soft-starts 5V_DISP and the PCA9306 enables,
 * and only then DISP_RST to be released. That ordering is owned by
 * src/zephyr/ui/ui_display.c, which asserts the rail, waits, and calls
 * device_init() on the shim and then the panel. Left to POST_KERNEL the panel
 * driver would push its whole init sequence into an unpowered module.
 *
 * `reset-gpios` on the shim (not on /zephyr,user) is deliberate: st7796s_init()
 * calls mipi_dbi_reset() unconditionally and fails with -ENOTSUP if the shim
 * has no reset pin, and the same DISP_RST line also resets the FT6336U, whose
 * initialisation the UI area runs immediately after the panel's — one owner,
 * one pulse, both devices.
 */

/ {
	disp_dbi: mipi-dbi {
		compatible = "zephyr,mipi-dbi-spi";
		spi-dev = <&spi4>;
		/* PB0 DISP_DC: high = data, low = command. */
		dc-gpios = <&gpiob 0 GPIO_ACTIVE_HIGH>;
		/* PA10 DISP_RST: active low, held asserted at boot by R209. */
		reset-gpios = <&gpioa 10 GPIO_ACTIVE_LOW>;
		write-only;
		#address-cells = <1>;
		#size-cells = <0>;
		zephyr,deferred-init;
		status = "okay";

		display: st7796s@2 {
			compatible = "sitronix,st7796s";
			/* Index into &spi4 cs-gpios: [2] = PE9 DISP_CS. */
			reg = <2>;
			mipi-max-frequency = <DT_FREQ_M(30)>;
			mipi-mode = "MIPI_DBI_MODE_SPI_4WIRE";

			/*
			 * Landscape. The panel is 320RGB x 480 native; MADCTL
			 * MV|MX exchanges the axes and mirrors the column
			 * order, giving 480 x 320 with the origin top-left for
			 * a rack-front orientation. BGR is set because the
			 * common ST7796S modules wire the panel that way.
			 *
			 * BENCH: confirm orientation and colour order against
			 * the fitted module; a mirrored image is MX (0x40) and
			 * swapped red/blue is BGR (0x08).
			 */
			width = <480>;
			height = <320>;
			madctl = <0x68>;
			invert-mode = "1-dot";

			/*
			 * Gamma: 14 bytes each into E0h/E1h. The binding
			 * requires both and offers no default because the
			 * curve is panel specific. These are the ST7796S
			 * application-note values — a neutral starting point,
			 * not a characterisation of the fitted glass.
			 *
			 * BENCH: adjust against the module's own init table
			 * once one is fitted; a wrong gamma is a washed-out or
			 * crushed image, never a functional failure.
			 */
			pgc = [F0 09 0B 06 04 15 2F 54 42 3C 17 14 18 1B];
			ngc = [E0 09 0B 06 04 03 2B 43 42 3B 16 14 17 1B];

			zephyr,deferred-init;
			status = "okay";
		};
	};
};
```

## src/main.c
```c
/*
 * STS1000 "Meridian" — bring-up sequencer entry.
 *
 * Copyright (c) 2026 RCL Design
 * SPDX-License-Identifier: Apache-2.0
 *
 * This file is deliberately thin. It owns the *order* of bring-up — the stage
 * sequence of docs/sts1000_firmware_hardware_interface.md §2 — and nothing
 * else. The work of each stage belongs to one of the four glue areas:
 *
 *   platform  stages 2-3 and 5-9: buses, rail verification, GNSS power, the
 *             timing engine, the 1 kHz scan, housekeeping and the supervisor.
 *   console   USB, shell, MCP, settings/NVS, LittleFS.
 *   net       stage 4 onwards: link, DHCP, NTP/NTS, PTP, SNMP.
 *   ui        stage 6: display, touch, encoder, panel LEDs.
 *
 * The fail-safe principle of §2 is that every gated load and every resettable
 * device sits in its safe/off state at reset, held there by an external pull,
 * and firmware releases them deliberately and in order. Ordering here reflects
 * that: the platform area verifies rails before any area is allowed to enable
 * a load, and the console area comes up next so that a failure in net or ui is
 * observable on the shell.
 *
 * The three area entry points have __weak no-op fallbacks
 * (src/zephyr/platform/sts_area_weak.c), so the image links and boots with any
 * subset of CONFIG_STS1000_{NET,CONSOLE,UI} disabled or unimplemented.
 */

#include <zephyr/kernel.h>
#include <zephyr/devicetree.h>
#include <zephyr/logging/log.h>
#include <zephyr/sys/util.h>

#include "zephyr/sts_app.h"

LOG_MODULE_REGISTER(sts1000_main, CONFIG_STS1000_LOG_LEVEL);

/*
 * An area that fails to start is reported and stepped over: none of the three
 * is required for the timing engine, which is the product's reason to exist. A
 * platform failure is different — it means rails or buses are unusable — but
 * even that must not spin here, because the console area is the only way to
 * diagnose it and the external watchdog is not armed until Stage 9.
 */
static void run_area(const char *name, int (*start)(void))
{
	int rc = start();

	if (rc != 0) {
		LOG_ERR("%s area failed to start (%d); continuing degraded", name, rc);
	}
}

int main(void)
{
	int rc;

	LOG_INF("=== stage 2-3: platform bring-up ===");
	rc = sts_platform_init();
	if (rc != 0) {
		LOG_ERR("platform init failed (%d): running degraded", rc);
	}

	if (IS_ENABLED(CONFIG_STS1000_CONSOLE)) {
		LOG_INF("=== console area: usb, shell, mcp, storage ===");
		run_area("console", sts_console_start);
	}

	if (IS_ENABLED(CONFIG_STS1000_NET)) {
		LOG_INF("=== stage 4: network area ===");
		run_area("net", sts_net_start);
	}

	if (IS_ENABLED(CONFIG_STS1000_UI)) {
		LOG_INF("=== stage 6: local ui area ===");
		run_area("ui", sts_ui_start);
	}

	LOG_INF("=== bring-up complete ===");

	/*
	 * Every subsystem runs on its own static thread; main has no further
	 * work. Returning from main() in Zephyr terminates only this thread.
	 */
	return 0;
}
```
